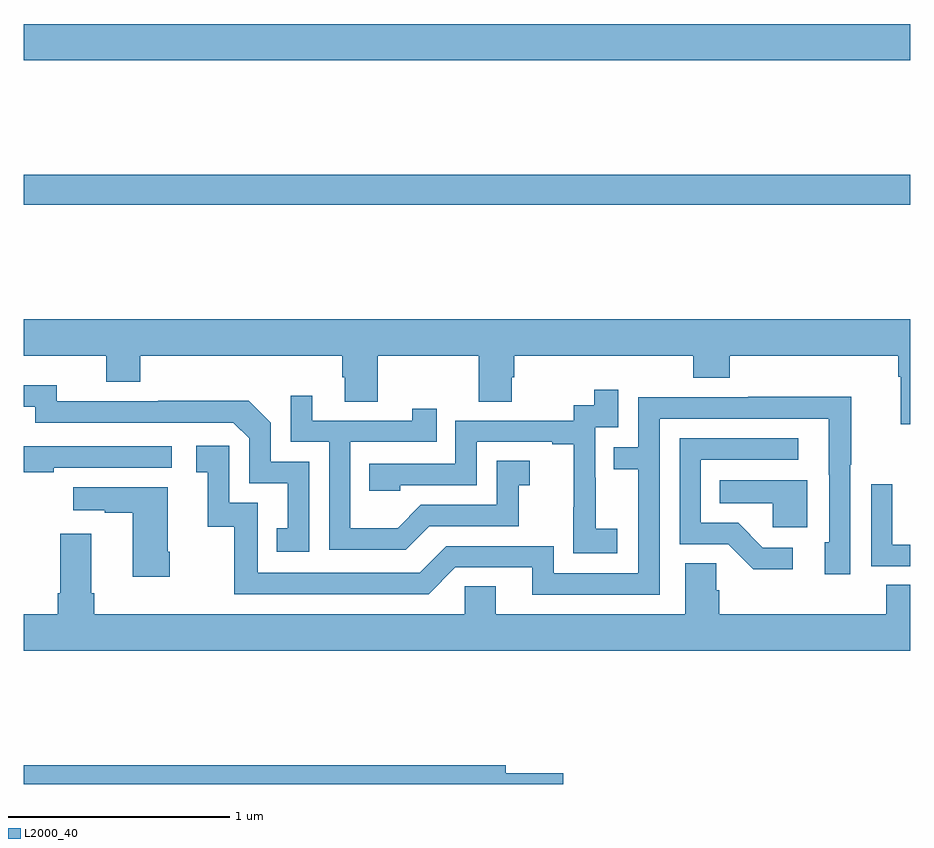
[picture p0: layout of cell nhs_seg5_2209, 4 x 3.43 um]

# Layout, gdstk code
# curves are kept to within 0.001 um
import gdstk
lib = gdstk.Library(unit=1e-6, precision=1e-09)
def R(c, l, rs):  # rectangles x0, y0, x1, y1
    for r in rs: c.add(gdstk.rectangle(r[:2], r[2:], *l))
def P(c, l, *ps):  # polygons
    for p in ps: c.add(gdstk.Polygon(p, *l))
L2000_40 = (2000, 40)

nhs_seg5_2209 = lib.new_cell('nhs_seg5_2209')
R(nhs_seg5_2209, L2000_40, [(239,885.412,243,885.548), (239,886.064,243,886.228)])
P(nhs_seg5_2209, L2000_40, [(243,884.896),(239,884.896),(239,884.732),(239.372,884.732),(239.372,884.615),(239.525,884.615),(239.525,884.732),(240.437,884.732),(240.437,884.634),(240.449,884.634),(240.449,884.524),(240.597,884.524),(240.597,884.732),(241.054,884.732),(241.054,884.524),(241.201,884.524),(241.201,884.634),(241.214,884.634),(241.214,884.732),(242.021,884.732),(242.021,884.633),(242.186,884.633),(242.186,884.732),(242.945,884.732),(242.945,884.636),(242.957,884.636),(242.957,884.423),(243,884.423)],
  [(240.288,884.253),(240.114,884.253),(240.114,884.43),(240.016,884.528),(239.608,884.528),(239.608,884.526),(239.148,884.526),(239.148,884.599),(239,884.599),(239,884.502),(239.052,884.502),(239.052,884.43),(239.946,884.43),(240.018,884.358),(240.018,884.157),(240.191,884.157),(240.191,883.953),(240.142,883.953),(240.142,883.848),(240.288,883.848)],
  [(241.678,883.951),(241.58,883.951),(241.58,884.18),(241.578,884.18),(241.578,884.409),(241.683,884.409),(241.683,884.578),(241.575,884.578),(241.575,884.508),(241.482,884.508),(241.482,884.439),(240.948,884.439),(240.948,884.244),(240.559,884.244),(240.559,884.121),(240.699,884.121),(240.699,884.148),(241.044,884.148),(241.044,884.343),(241.385,884.343),(241.385,884.331),(241.481,884.331),(241.481,884.047),(241.48,884.047),(241.48,883.841),(241.678,883.841)],
  [(240.829,883.962),(241.233,883.962),(241.233,884.147),(241.282,884.147),(241.282,884.257),(241.134,884.257),(241.134,884.058),(240.792,884.058),(240.688,883.954),(240.474,883.954),(240.474,884.343),(240.863,884.343),(240.863,884.491),(240.752,884.491),(240.752,884.439),(240.301,884.439),(240.301,884.551),(240.204,884.551),(240.204,884.343),(240.378,884.343),(240.378,883.857),(240.724,883.857)],
  [(241.869,884.448),(242.633,884.448),(242.634,883.89),(242.615,883.89),(242.615,883.746),(242.73,883.746),(242.73,884.239),(242.733,884.239),(242.733,884.546),(242.269,884.546),(242.269,884.544),(241.773,884.544),(241.773,884.319),(241.663,884.319),(241.663,884.218),(241.773,884.218),(241.773,883.749),(241.392,883.749),(241.392,883.872),(240.906,883.872),(240.786,883.752),(240.057,883.752),(240.057,884.067),(239.928,884.067),(239.928,884.326),(239.778,884.326),(239.778,884.205),(239.831,884.205),(239.831,883.959),(239.949,883.959),(239.949,883.656),(240.828,883.656),(240.948,883.776),(241.295,883.776),(241.295,883.653),(241.869,883.653)],
  [(242.47,883.866),(242.335,883.866),(242.224,883.977),(242.055,883.977),(242.055,884.262),(242.494,884.262),(242.494,884.358),(241.959,884.358),(241.959,883.881),(242.178,883.881),(242.291,883.769),(242.47,883.769)],
  [(239.135,884.226),(239.668,884.226),(239.668,884.322),(239,884.322),(239,884.206),(239.135,884.206)],
  [(242.536,884.17),(242.14,884.17),(242.14,884.066),(242.379,884.066),(242.379,883.958),(242.536,883.958)],
  [(243,883.878),(242.919,883.878),(242.919,884.152),(242.823,884.152),(242.823,883.782),(243,883.782)],
  [(239.658,883.846),(239.65,883.846),(239.65,884.137),(239.223,884.137),(239.223,884.033),(239.366,884.033),(239.366,884.023),(239.492,884.023),(239.492,883.734),(239.658,883.734)],
  [(243,883.697),(242.891,883.697),(242.891,883.564),(242.138,883.564),(242.138,883.673),(242.124,883.673),(242.124,883.796),(241.985,883.796),(241.985,883.564),(241.129,883.564),(241.129,883.691),(240.99,883.691),(240.99,883.564),(239.318,883.564),(239.318,883.66),(239.305,883.66),(239.305,883.927),(239.165,883.927),(239.165,883.66),(239.153,883.66),(239.153,883.564),(239,883.564),(239,883.4),(243,883.4)],
  [(241.435,882.848),(241.174,882.848),(241.174,882.884),(239,882.884),(239,882.799),(241.435,882.799)])

lib.write_gds('nhs_seg5_2209.gds')
